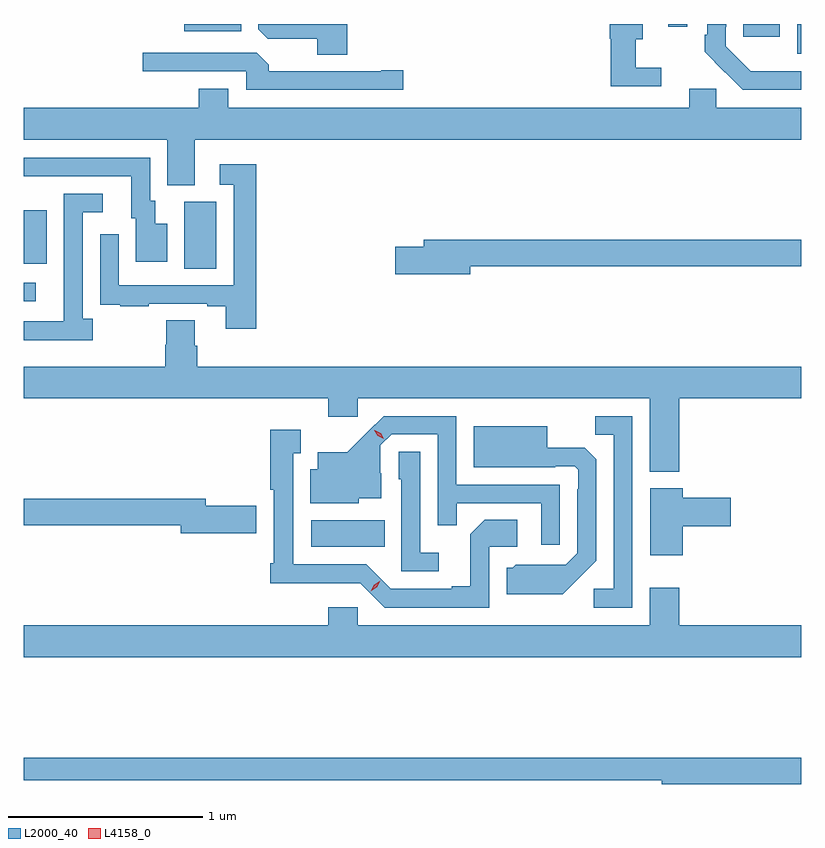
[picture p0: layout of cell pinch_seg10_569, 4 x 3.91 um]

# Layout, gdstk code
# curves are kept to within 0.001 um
import gdstk
lib = gdstk.Library(unit=1e-6, precision=1e-09)
def R(c, l, rs):  # rectangles x0, y0, x1, y1
    for r in rs: c.add(gdstk.rectangle(r[:2], r[2:], *l))
def P(c, l, *ps):  # polygons
    for p in ps: c.add(gdstk.Polygon(p, *l))
L2000_40 = (2000, 40)
L4158_0 = (4158, 0)

pinch_seg10_569 = lib.new_cell('pinch_seg10_569')
R(pinch_seg10_569, L2000_40, [(374.028,1251.602,374.408,1251.736), (372.55,1252.863,372.61,1252.959), (373.376,1253.032,373.54,1253.376), (372.55,1253.057,372.667,1253.332), (376.53,1254.138,376.55,1254.291), (376.253,1254.225,376.441,1254.291), (373.376,1254.254,373.669,1254.291), (375.867,1254.276,375.963,1254.291)])
P(pinch_seg10_569, L2000_40, [(374.213,1254.291),(373.757,1254.291),(373.757,1254.265),(373.806,1254.216),(374.06,1254.216),(374.06,1254.133),(374.213,1254.133)],
  [(375.829,1254.067),(375.7,1254.067),(375.7,1254.212),(375.736,1254.212),(375.736,1254.291),(375.566,1254.291),(375.566,1254.216),(375.571,1254.216),(375.571,1253.97),(375.829,1253.97)],
  [(376.55,1254.048),(376.29,1254.049),(376.161,1254.177),(376.161,1254.277),(376.164,1254.277),(376.164,1254.291),(376.068,1254.291),(376.068,1254.235),(376.053,1254.235),(376.053,1254.147),(376.25,1253.952),(376.55,1253.952)],
  [(374.503,1254.053),(374.39,1254.053),(374.39,1254.048),(373.811,1254.048),(373.811,1254.082),(373.749,1254.144),(373.161,1254.144),(373.161,1254.048),(373.695,1254.048),(373.695,1253.952),(374.503,1253.952)],
  [(373.429,1253.696),(376.55,1253.696),(376.55,1253.86),(376.113,1253.86),(376.113,1253.958),(375.974,1253.958),(375.974,1253.86),(373.603,1253.86),(373.603,1253.959),(373.451,1253.959),(373.451,1253.86),(372.55,1253.86),(372.55,1253.696),(373.289,1253.696),(373.289,1253.461),(373.429,1253.461)],
  [(373.288,1253.263),(373.225,1253.263),(373.225,1253.382),(373.2,1253.382),(373.2,1253.604),(372.55,1253.604),(372.55,1253.508),(373.103,1253.508),(373.103,1253.292),(373.127,1253.292),(373.127,1253.067),(373.288,1253.067)],
  [(373.745,1253.569),(373.557,1253.569),(373.557,1253.463),(373.629,1253.463),(373.629,1252.947),(373.038,1252.947),(373.038,1253.209),(372.942,1253.209),(372.942,1252.954),(372.943,1252.954),(372.943,1252.845),(373.045,1252.845),(373.045,1252.839),(373.193,1252.839),(373.193,1252.851),(373.493,1252.851),(373.493,1252.839),(373.589,1252.839),(373.589,1252.722),(373.745,1252.722)],
  [(372.904,1252.774),(372.852,1252.774),(372.852,1253.322),(372.955,1253.322),(372.955,1253.418),(372.756,1253.418),(372.756,1252.961),(372.755,1252.961),(372.755,1252.761),(372.55,1252.761),(372.55,1252.664),(372.904,1252.664)],
  [(374.848,1253.044),(376.55,1253.044),(376.55,1253.18),(374.609,1253.18),(374.609,1253.144),(374.46,1253.144),(374.46,1253.002),(374.848,1253.002)],
  [(375.923,1252.364),(376.55,1252.364),(376.55,1252.528),(373.442,1252.528),(373.442,1252.634),(373.429,1252.634),(373.429,1252.766),(373.282,1252.766),(373.282,1252.641),(373.277,1252.641),(373.277,1252.528),(372.55,1252.528),(372.55,1252.364),(374.117,1252.364),(374.117,1252.269),(374.268,1252.269),(374.268,1252.364),(375.77,1252.364),(375.77,1251.986),(375.923,1251.986)],
  [(375.309,1251.921),(374.775,1251.921),(374.775,1252.272),(374.402,1252.272),(374.215,1252.087),(374.063,1252.087),(374.063,1252),(374.024,1252),(374.024,1251.824),(374.274,1251.824),(374.274,1251.851),(374.389,1251.851),(374.389,1251.98),(374.385,1251.98),(374.385,1252.122),(374.442,1252.179),(374.679,1252.179),(374.679,1251.712),(374.777,1251.712),(374.777,1251.825),(375.213,1251.825),(375.213,1251.612),(375.309,1251.612)],
  [(375.681,1252.272),(375.49,1252.272),(375.49,1252.177),(375.585,1252.177),(375.585,1251.384),(375.483,1251.384),(375.483,1251.288),(375.681,1251.288)],
  [(375.403,1251.437),(375.495,1251.53),(375.495,1252.052),(375.436,1252.111),(375.244,1252.111),(375.244,1252.222),(374.864,1252.222),(374.864,1252.01),(375.284,1252.01),(375.284,1252.014),(375.384,1252.014),(375.402,1251.996),(375.402,1251.896),(375.399,1251.896),(375.399,1251.567),(375.339,1251.507),(375.082,1251.508),(375.066,1251.492),(375.035,1251.492),(375.035,1251.356),(375.323,1251.356)],
  [(374.946,1251.6),(375.088,1251.6),(375.088,1251.74),(374.923,1251.74),(374.847,1251.664),(374.847,1251.397),(374.753,1251.397),(374.753,1251.384),(374.439,1251.384),(374.313,1251.51),(373.936,1251.51),(373.936,1252.083),(373.975,1252.083),(373.975,1252.204),(373.818,1252.204),(373.818,1251.895),(373.835,1251.895),(373.835,1251.517),(373.818,1251.517),(373.818,1251.413),(374.28,1251.414),(374.406,1251.288),(374.946,1251.288)],
  [(374.686,1251.571),(374.589,1251.571),(374.589,1252.091),(374.478,1252.091),(374.478,1251.948),(374.493,1251.948),(374.493,1251.474),(374.686,1251.474)],
  [(375.94,1251.707),(376.189,1251.707),(376.189,1251.854),(375.94,1251.854),(375.94,1251.901),(375.773,1251.901),(375.773,1251.558),(375.94,1251.558)],
  [(373.747,1251.812),(373.486,1251.812),(373.486,1251.848),(372.55,1251.848),(372.55,1251.712),(373.358,1251.712),(373.358,1251.67),(373.747,1251.67)],
  [(376.55,1251.196),(375.923,1251.196),(375.923,1251.391),(375.77,1251.391),(375.77,1251.196),(374.268,1251.196),(374.268,1251.289),(374.117,1251.289),(374.117,1251.196),(372.55,1251.196),(372.55,1251.032),(376.55,1251.032)],
  [(376.55,1250.516),(372.55,1250.516),(372.55,1250.4),(375.58,1250.4),(375.58,1250.399),(375.832,1250.399),(375.832,1250.38),(376.55,1250.38)])
P(pinch_seg10_569, L4158_0, [(374.403,1252.156),(374.372,1252.171),(374.354,1252.201),(374.354,1252.201),(374.355,1252.201),(374.386,1252.186),(374.403,1252.156),(374.403,1252.156)],
  [(374.336,1251.373),(374.336,1251.373),(374.352,1251.406),(374.384,1251.426),(374.384,1251.426),(374.384,1251.425),(374.367,1251.392),(374.336,1251.373)])

lib.write_gds('pinch_seg10_569.gds')
